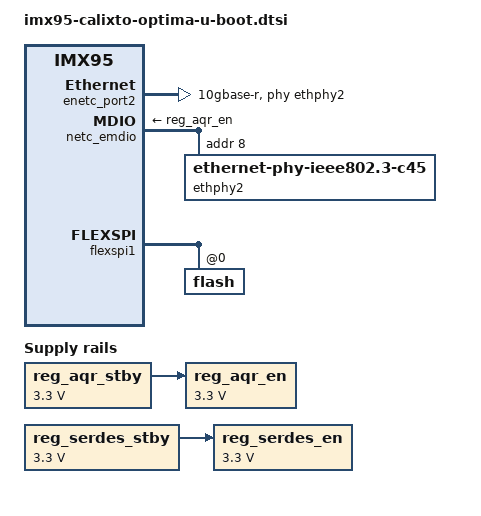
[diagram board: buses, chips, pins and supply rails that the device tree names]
// SPDX-License-Identifier: GPL-2.0+
/*
 * Copyright 2025 NXP
 */

#include "imx95-u-boot.dtsi"

/ {
	aliases {
		pci0 = &netc_bus0;
		pci1 = &netc_bus1;
		usb0 = &usb3_dwc3;
		usb1 = &usb2;
		usb_gadget0 = &usb3_dwc3;
		usb_gadget1 = &usbg2;
		ethernet1 = &enetc_port2;
		spi0 = &flexspi1;
	};
	
	chosen {
		bootargs = "console=ttyLP0,115200 earlycon";
	};

	usbg2: usbg2 {
		compatible = "fsl,imx27-usb-gadget";
		dr_mode = "peripheral";
		chipidea,usb = <&usb2>;
		bootph-pre-ram;
		status = "okay";
	};
	
	reg_aqr_stby: regulator-aqr-stby {
		compatible = "regulator-fixed";
		regulator-name = "aqr-stby";
		regulator-min-microvolt = <3300000>;
		regulator-max-microvolt = <3300000>;
//		gpio = <&i2c5_pcal6408 1 GPIO_ACTIVE_HIGH>;
		enable-active-high;
	};

	reg_aqr_en: regulator-aqr-en {
		compatible = "regulator-fixed";
		regulator-name = "aqr-en";
		regulator-min-microvolt = <3300000>;
		regulator-max-microvolt = <3300000>;
		vin-supply = <&reg_aqr_stby>;
//		gpio = <&i2c5_pcal6408 0 GPIO_ACTIVE_HIGH>;
		enable-active-high;
	};

	reg_serdes_stby: regulator-mac-stby {
		compatible = "regulator-fixed";
		regulator-name = "mac-stby";
		regulator-min-microvolt = <3300000>;
		regulator-max-microvolt = <3300000>;
//		gpio = <&i2c7_pcal6524 13 GPIO_ACTIVE_LOW>;
	};

	reg_serdes_en: regulator-mac-en {
		compatible = "regulator-fixed";
		regulator-name = "mac-en";
		regulator-min-microvolt = <3300000>;
		regulator-max-microvolt = <3300000>;
		vin-supply = <&reg_serdes_stby>;
//		gpio = <&i2c5_pcal6408 3 GPIO_ACTIVE_LOW>;
	};
};

&enetc_port2 {
	phy-handle = <&ethphy2>;
	phy-mode = "10gbase-r";
	serdes-supply = <&reg_serdes_en>;
	managed = "in-band-status";
	status = "okay";
};

&netc_emdio {
	phy-supply = <&reg_aqr_en>;

	ethphy2: ethernet-phy@8 {
		compatible = "ethernet-phy-ieee802.3-c45";
		reg = <8>;
	};
};

&scmi_iomuxc {
	pinctrl-names = "default";
	pinctrl-0 = <&pinctrl_hog>;

	pinctrl_hog: hoggrp {
		bootph-pre-ram;

		fsl,pins = <
			IMX95_PAD_XSPI1_SS1_B__GPIO5_IO_BIT11			0x3fe
			IMX95_PAD_GPIO_IO12__TPM3_CH2           0x51e
			IMX95_PAD_CCM_CLKO1__GPIO3_IO_BIT26			0x30e
			IMX95_PAD_CCM_CLKO2__GPIO3_IO_BIT27			0x30e
		>;
	};
};

&lpuart1 {
	bootph-pre-ram;
};

&reg_usdhc2_vmmc {
	bootph-pre-ram;
};

&usdhc1 {
	bootph-pre-ram;
};

&usdhc2 {
	bootph-pre-ram;
};

&wdog3 {
	status = "disabled";
};

&pinctrl_uart1 {
	bootph-pre-ram;
};

&pinctrl_usdhc1 {
	bootph-pre-ram;
};

&pinctrl_usdhc1_100mhz {
	bootph-pre-ram;
};

&pinctrl_usdhc1_200mhz {
	bootph-pre-ram;
};

&pinctrl_usdhc2 {
	bootph-pre-ram;
};

&pinctrl_usdhc2_100mhz {
	bootph-pre-ram;
};

&pinctrl_usdhc2_200mhz {
	bootph-pre-ram;
};

&pinctrl_usdhc2_gpio {
	bootph-pre-ram;
};

&pinctrl_reg_usdhc2_vmmc {
	bootph-pre-ram;
};

&usb2 {
	compatible = "fsl,imx8mm-usb", "fsl,imx7d-usb";
	/delete-property/power-domains;
	bootph-pre-ram;
};

&usbmisc {
	bootph-pre-ram;
};

&usbphynop {
	bootph-pre-ram;
};

&usb3_phy {
	bootph-pre-ram;
};

&usb3 {
	clocks = <&scmi_clk IMX95_CLK_HSIO>,
			 <&scmi_clk IMX95_CLK_24M>,
			 <&scmi_clk IMX95_CLK_32K>;
	clock-names = "hsio", "ref", "suspend";

	/delete-property/power-domains;
	bootph-pre-ram;
};

&usb3_dwc3 {
	bootph-pre-ram;
};

&flexspi1 {
	bootph-pre-ram;

	flash@0{
		bootph-pre-ram;
	};
};

&pinctrl_flexspi1 {
	bootph-pre-ram;
};

&pinctrl_flexspi1_reset {
	bootph-pre-ram;
};

&dispmix_csr {
	/delete-property/ assigned-clocks;
	/delete-property/ assigned-clock-rates;
	/delete-property/ assigned-clock-parents;
};

&mipi_dsi {
	assigned-clocks = <&scmi_clk IMX95_CLK_MIPIPHYPLLBYPASS>;
	assigned-clock-parents = <&scmi_clk IMX95_CLK_VIDEOPLL1>;
};
